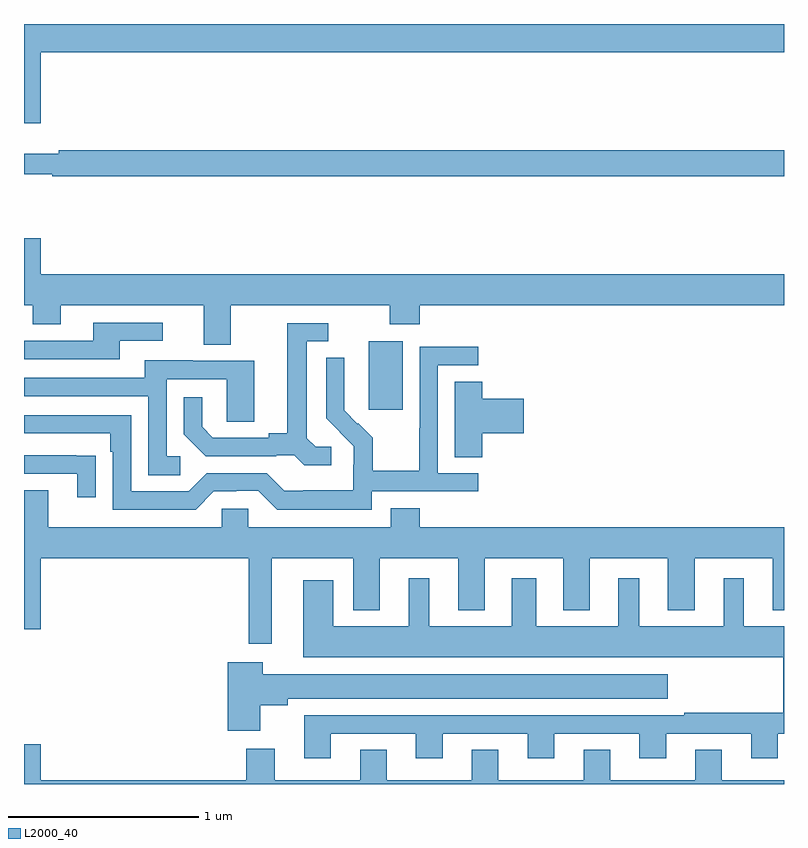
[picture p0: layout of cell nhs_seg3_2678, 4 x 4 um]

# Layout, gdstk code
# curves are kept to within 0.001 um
import gdstk
lib = gdstk.Library(unit=1e-6, precision=1e-09)
def R(c, l, rs):  # rectangles x0, y0, x1, y1
    for r in rs: c.add(gdstk.rectangle(r[:2], r[2:], *l))
def P(c, l, *ps):  # polygons
    for p in ps: c.add(gdstk.Polygon(p, *l))
L2000_40 = (2000, 40)

nhs_seg3_2678 = lib.new_cell('nhs_seg3_2678')
R(nhs_seg3_2678, L2000_40, [(250.814,696.369,250.993,696.73)])
P(nhs_seg3_2678, L2000_40, [(249.088,698.252),(253,698.252),(253,698.4),(249,698.4),(249,697.878),(249.088,697.878)],
  [(253,697.736),(249.184,697.736),(249.184,697.717),(249,697.717),(249,697.608),(249.148,697.608),(249.148,697.6),(253,697.6)],
  [(250.087,696.92),(250.924,696.92),(250.924,696.821),(251.084,696.821),(251.084,696.92),(253,696.92),(253,697.084),(249.088,697.084),(249.088,697.273),(249,697.273),(249,696.92),(249.046,696.92),(249.046,696.821),(249.193,696.821),(249.193,696.92),(249.947,696.92),(249.947,696.712),(250.087,696.712)],
  [(249.505,696.732),(249.73,696.732),(249.73,696.828),(249.365,696.828),(249.365,696.732),(249,696.732),(249,696.636),(249.505,696.636)],
  [(250.618,696.174),(250.536,696.174),(250.489,696.221),(250.489,696.729),(250.6,696.729),(250.6,696.825),(250.385,696.825),(250.385,696.245),(250.289,696.245),(250.289,696.222),(249.994,696.222),(249.937,696.279),(249.937,696.436),(249.84,696.436),(249.84,696.242),(249.956,696.126),(250.328,696.126),(250.328,696.129),(250.422,696.129),(250.474,696.077),(250.618,696.077)],
  [(250.83,695.94),(251.392,695.94),(251.392,696.036),(251.178,696.036),(251.178,696.603),(251.392,696.603),(251.392,696.702),(251.082,696.702),(251.082,696.272),(251.08,696.272),(251.08,696.049),(250.835,696.049),(250.835,696.223),(250.758,696.3),(250.755,696.297),(250.685,696.368),(250.686,696.644),(250.59,696.644),(250.59,696.326),(250.736,696.178),(250.736,696.081),(250.734,696.081),(250.734,695.947),(250.471,695.947),(250.471,695.943),(250.371,695.943),(250.278,696.036),(249.963,696.036),(249.867,695.94),(249.564,695.94),(249.564,696.342),(249,696.342),(249,696.246),(249.455,696.246),(249.455,696.149),(249.468,696.149),(249.468,695.844),(249.903,695.844),(249.999,695.94),(250.118,695.94),(250.118,695.943),(250.233,695.943),(250.333,695.843),(250.83,695.843)],
  [(249.823,696.126),(249.75,696.126),(249.75,696.531),(250.068,696.531),(250.068,696.307),(250.213,696.307),(250.213,696.627),(249.889,696.627),(249.889,696.631),(249.635,696.631),(249.635,696.537),(249,696.537),(249,696.441),(249.654,696.441),(249.654,696.025),(249.823,696.025)],
  [(251.411,696.245),(251.629,696.245),(251.629,696.428),(251.411,696.428),(251.411,696.518),(251.267,696.518),(251.267,696.121),(251.411,696.121)],
  [(249.377,696.128),(249.275,696.128),(249.275,696.129),(249,696.129),(249,696.033),(249.281,696.033),(249.281,695.91),(249.377,695.91)],
  [(250.303,695.588),(250.733,695.588),(250.733,695.315),(250.873,695.315),(250.873,695.588),(251.285,695.588),(251.285,695.315),(251.425,695.315),(251.425,695.588),(251.837,695.588),(251.837,695.315),(251.977,695.315),(251.977,695.588),(252.389,695.588),(252.389,695.315),(252.529,695.315),(252.529,695.588),(252.941,695.588),(252.941,695.315),(253,695.315),(253,695.752),(251.084,695.752),(251.084,695.851),(250.931,695.851),(250.931,695.752),(250.179,695.752),(250.179,695.85),(250.041,695.85),(250.041,695.752),(249.127,695.752),(249.127,695.947),(249,695.947),(249,695.214),(249.088,695.214),(249.088,695.588),(250.182,695.588),(250.182,695.139),(250.303,695.139)],
  [(250.615,694.665),(251.063,694.665),(251.063,694.536),(251.203,694.536),(251.203,694.665),(251.651,694.665),(251.651,694.536),(251.791,694.536),(251.791,694.665),(252.239,694.665),(252.239,694.536),(252.379,694.536),(252.379,694.665),(252.827,694.665),(252.827,694.536),(252.967,694.536),(252.967,694.664),(253,694.664),(253,695.23),(252.787,695.23),(252.787,695.482),(252.683,695.482),(252.683,695.23),(252.238,695.23),(252.238,695.482),(252.128,695.482),(252.128,695.23),(251.695,695.23),(251.695,695.482),(251.567,695.482),(251.567,695.23),(251.134,695.23),(251.134,695.482),(251.024,695.482),(251.024,695.23),(250.627,695.23),(250.627,695.473),(250.469,695.473),(250.469,695.066),(252.995,695.066),(252.995,694.774),(252.475,694.774),(252.475,694.761),(250.475,694.761),(250.475,694.536),(250.615,694.536)],
  [(250.243,694.814),(250.387,694.814),(250.387,694.85),(252.388,694.85),(252.388,694.978),(250.256,694.978),(250.256,695.041),(250.073,695.041),(250.073,694.68),(250.243,694.68)],
  [(253,694.42),(252.673,694.42),(252.673,694.58),(252.533,694.58),(252.533,694.42),(252.085,694.42),(252.085,694.58),(251.945,694.58),(251.945,694.42),(251.497,694.42),(251.497,694.58),(251.357,694.58),(251.357,694.42),(250.909,694.42),(250.909,694.58),(250.769,694.58),(250.769,694.42),(250.321,694.42),(250.321,694.585),(250.169,694.585),(250.169,694.42),(249.088,694.42),(249.088,694.609),(249,694.609),(249,694.4),(253,694.4)])

lib.write_gds('nhs_seg3_2678.gds')
